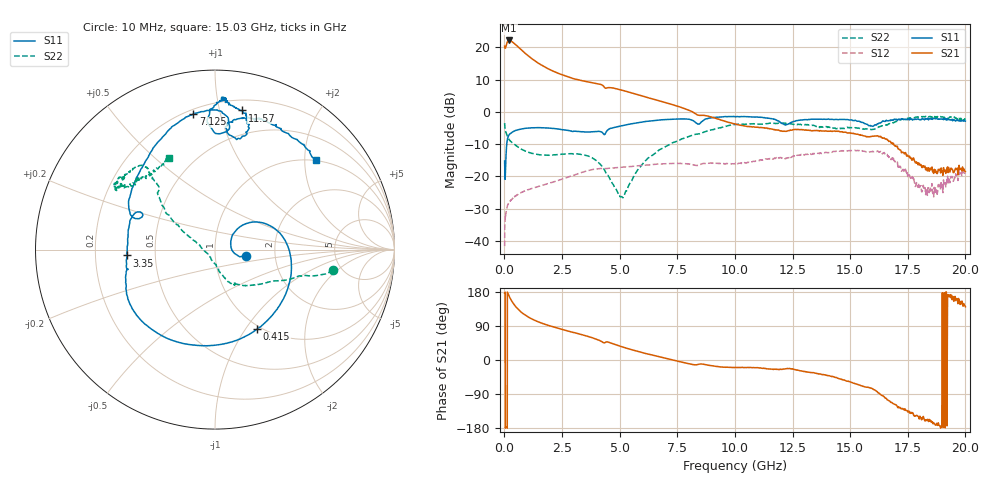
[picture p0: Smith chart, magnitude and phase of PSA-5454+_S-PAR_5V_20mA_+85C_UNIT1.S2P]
!Mini-Circuits Laboratory
!S-Parameters
!Model: PSA-5454+
!Run / Lot / Date Code: NA / AP210P001-04-A#PB / 0913
!Fixture: SOLDERED TO TB-533+
!Network Analyzer: PNA-X N5242A - 423 4 ports;  Serial number: 71013
!Date: 10/22/2009 at 4:43:09 PM
!S/N: Unit# 1
!Tested with:
!Vdd=5V for Idd=20mA Temprature: +85C
# Hz  S  dB  R  50
!Frequency  S11 dB  S11 Deg  S21 dB  S21 Deg  S12 dB  S12 Deg  S22 dB  S22 Deg
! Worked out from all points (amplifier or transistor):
!   959 points, 10 MHz to 20 GHz, reference 50 ohm
!   highest |S21| = 22.1 dB at 205 MHz (marker M1)
!   |S21| within 3 dB of that: start of sweep to 751.1 MHz
!   unconditionally stable (mu >= 1): start of sweep to 221.6 MHz; 2.053 GHz to end of sweep
!   at 805 MHz: K = 0.81, MSG = 21.8 dB, |S12| = -24.7 dB
!   at 8.025 GHz: K = 1.38, MAG = 4.7 dB, |S12| = -16.2 dB
!   at 20 GHz: K = 8.14, MAG = -11.8 dB, |S12| = -19.0 dB
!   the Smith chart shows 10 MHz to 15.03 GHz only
!   S11 on the Smith chart (normalised r, x): 10 MHz: 1.41, -0.10; 415 MHz: 0.95, -1.13; 3.35 GHz: 0.34, -0.03; 7.125 GHz: 0.23, +0.83; 11.57 GHz: 0.28, +1.18; 15.03 GHz: 0.99, +2.27
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1e7  -15.19 -11.4  20.38 176.1  -41.61 36.8  -3.48 -10.0
5e7  -17.83 40.4  19.82 -178.2  -32.60 30.3  -5.97 -17.1
9.5e7  -10.66 31.3  20.97 -176.5  -30.16 33.1  -6.89 -21.3
1.45e8  -8.07 7.1  21.88 177.2  -28.84 30.3  -7.82 -25.1
2.05e8  -7.11 -15.2  22.13 168.5  -28.01 28.4  -8.58 -28.1
3.05e8  -6.43 -41.6  21.87 157.0  -27.19 27.7  -9.32 -32.5
4.15e8  -5.99 -62.3  21.29 146.9  -26.45 28.4  -9.93 -37.1
5.95e8  -5.53 -86.4  20.16 134.0  -25.54 29.3  -10.93 -44.3
8.3e8  -5.18 -107.8  18.62 121.5  -24.68 29.9  -11.90 -51.9
1e9  -5.01 -118.2  17.57 114.7  -24.18 31.4  -12.42 -54.7
1.325e9  -4.90 -132.6  15.81 104.4  -23.43 32.9  -13.04 -58.7
2.05e9  -5.08 -150.7  12.83 88.6  -21.90 38.1  -13.37 -60.8
3.35e9  -6.14 -176.2  9.71 67.0  -18.77 40.4  -13.23 -61.9
5.075e9  -4.34 133.3  6.78 35.4  -17.18 30.3  -26.28 -137.9
6.675e9  -2.56 104.5  3.52 9.2  -16.17 24.4  -12.02 146.5
7.125e9  -2.34 99.1  2.60 2.7  -16.01 22.1  -10.27 144.0
1.0025e10  -1.54 86.6  -3.81 -19.4  -15.90 18.6  -3.89 134.2
1.1575e10  -2.05 78.9  -5.28 -24.1  -14.42 16.7  -3.50 144.1
1.335e10  -2.25 71.1  -5.88 -33.3  -13.07 9.3  -4.14 144.8
1.5025e10  -2.47 41.6  -6.52 -58.5  -11.96 -12.6  -4.87 116.9
1.6675e10  -2.71 9.6  -9.15 -107.2  -14.13 -64.6  -3.72 48.5
2e10  -2.86 40.5  -18.51 140.6  -19.03 130.6  -2.35 34.6
